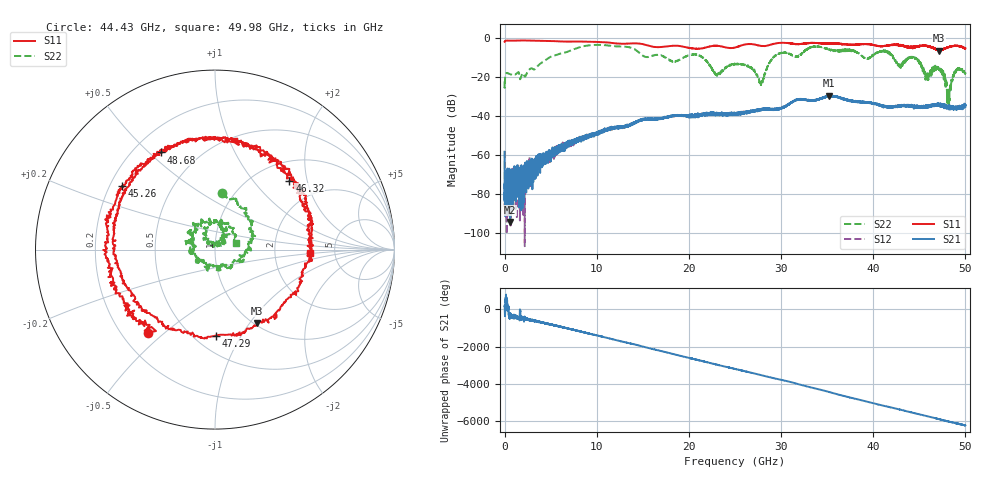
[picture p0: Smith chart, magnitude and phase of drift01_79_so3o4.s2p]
!Created with skrf (http://scikit-rf.org).
# Hz S RI R 50.0
!freq ReS11 ImS11 ReS21 ImS21 ReS12 ImS12 ReS22 ImS22
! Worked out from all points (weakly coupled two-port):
!   10001 points, 300 kHz to 50 GHz, reference 50 ohm
!   highest |S21| = -29.54 dB at 35.2 GHz (marker M1); lowest = -94.2 dB at 595.3 MHz (marker M2)
!   lowest |S11| = -6.5 dB at 47.1 GHz (marker M3), VSWR 2.78, Z = 51.5 - j54.2 ohm
!   |S11| at or under -10 dB: nowhere
!   |S22| runs from -35.9 to -3.6 dB; largest |S21 - S12| = 0.0038
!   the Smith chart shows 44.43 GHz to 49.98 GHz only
!   S11 on the Smith chart (normalised r, x): 44.43 GHz: 0.31, -0.44; 45.26 GHz: 0.25, +0.29; 46.32 GHz: 1.39, +1.57; 47.29 GHz: 0.63, -0.79; 48.68 GHz: 0.31, +0.54; 49.98 GHz: 3.25, -0.17
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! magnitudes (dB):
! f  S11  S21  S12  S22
! 300 kHz  -2.1  -58.3  -57.9  -22.3
! 255.3 MHz  -1.4  -70.2  -77.6  -18.0
! 595.3 MHz  -1.5  -94.2  -75.9  -18.6
! 8.335 GHz  -1.9  -51.8  -51.6  -4.5
! 16.67 GHz  -4.8  -41.5  -41.5  -8.7
! 20.99 GHz  -5.6  -38.6  -39.6  -8.8
! 23.1 GHz  -4.1  -38.9  -38.1  -18.6
! 25 GHz  -5.0  -39.1  -38.8  -13.5
! 27.86 GHz  -4.2  -36.6  -36.7  -23.0
! 29.43 GHz  -2.9  -36.4  -36.5  -9.1
! 33.34 GHz  -2.6  -32.2  -32.0  -4.8
! 35.2 GHz  -2.7  -29.5  -29.8  -6.0
! 41.67 GHz  -3.8  -35.2  -35.7  -8.2
! 44.43 GHz  -4.5  -34.8  -35.5  -9.9
! 45.26 GHz  -4.1  -35.4  -35.5  -13.9
! 46.32 GHz  -5.0  -34.9  -34.4  -17.4
! 47.1 GHz  -6.5  -34.7  -34.2  -15.6
! 47.29 GHz  -6.4  -35.2  -34.2  -16.8
! 48.19 GHz  -4.8  -36.0  -35.7  -29.4
! 48.68 GHz  -4.1  -35.4  -35.5  -19.3
! 49.98 GHz  -5.5  -35.0  -34.4  -18.2
! 50 GHz  -5.4  -34.5  -34.9  -18.2
